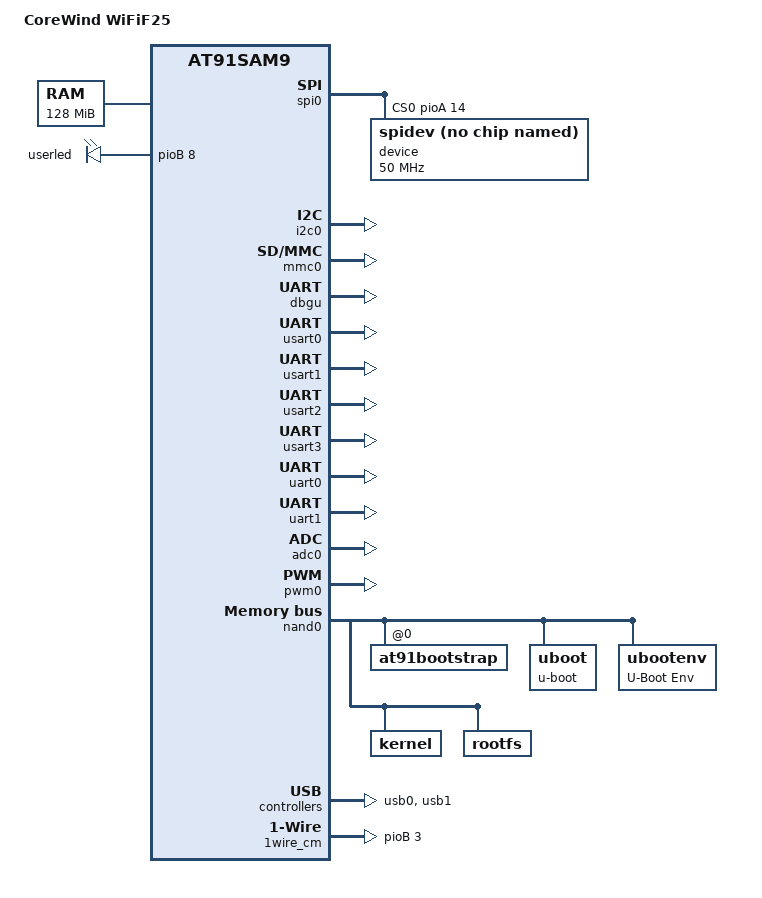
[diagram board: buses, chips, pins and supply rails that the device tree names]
/*
 at91-wifig25.dts - Device Tree file for CoreWind/ArmDevs WiFiG25
 Modified/Created by madox@madox.net
 
 Copyright (C) 2012 Atmel,
               2012 Nicolas Ferre <nicolas.ferre@atmel.com>

 at91-wifig25.dts
 |-at91sam9g25.dtsi
   |-at91sam9x5_usart3.dtsi
   |-at91sam9x5_macb0.dtsi
   |-at91sam9x5.dtsi
   |-skeleton.dtsi
 
Licensed under GPLv2 or later.
*/
/dts-v1/;
#include "at91sam9g25.dtsi"

/ {
	model = "CoreWind WiFiF25";
	compatible = "atmel,at91sam9g25ek", "atmel,at91sam9x5ek", "atmel,at91sam9x5", "atmel,at91sam9";

	aliases {
		serial0 = &dbgu;
		serial1 = &usart0;
		serial2 = &usart1;
		serial3 = &usart2;
		serial4 = &usart3;
		serial5 = &uart0;
		serial6 = &uart1;
	};
	
	chosen {
		bootargs = "mem=128M console=ttyS0,115200 rw rootfstype=ubifs ubi.mtd=7 root=ubi0:rootfs";
	};

	memory {
		/* 128 MB, change this for 256 MB revision */
		reg = <0x20000000 0x8000000>;
	};

	clocks {
		#address-cells = <1>;
		#size-cells = <1>;
		ranges;

		main_clock: clock@0 {
			compatible = "atmel,osc", "fixed-clock";
			clock-frequency = <12000000>;
		};
	};

	ahb {
		apb {
			pinctrl@fffff400 {
				1wire_cm {
					pinctrl_1wire_cm: 1wire_cm-0 {
						atmel,pins = <AT91_PIOB 3 AT91_PERIPH_GPIO AT91_PINCTRL_MULTI_DRIVE>;
					};
				};

				dbgu {
					pinctrl_dbgu: dbgu-0 {
						atmel,pins =
							<AT91_PIOA 9 AT91_PERIPH_A AT91_PINCTRL_NONE	/* PA9 periph A */
							 AT91_PIOA 10 AT91_PERIPH_A AT91_PINCTRL_PULL_UP>;	/* PA10 periph A with pullup */
					};
				};
				
				nand {
					pinctrl_nand_rdy_enable: nand_rdy_enable-0 {
						atmel,pins =
							<AT91_PIOD 5 AT91_PERIPH_GPIO AT91_PINCTRL_PULL_UP	
							 AT91_PIOD 4 AT91_PERIPH_GPIO AT91_PINCTRL_PULL_UP>;
					};

					pinctrl_nand_oe_we_ale_cle: nand_oe_we_ale_cle-0 {
						atmel,pins =
							<AT91_PIOD 0 AT91_PERIPH_A AT91_PINCTRL_PULL_UP
							 AT91_PIOD 1 AT91_PERIPH_A AT91_PINCTRL_PULL_UP
							 AT91_PIOD 2 AT91_PERIPH_A AT91_PINCTRL_PULL_UP
							 AT91_PIOD 3 AT91_PERIPH_A AT91_PINCTRL_PULL_UP>;
					};

					pinctrl_nand_bus_on_d16_8bit: nand_bus_on_d16_8bit-0 {
						atmel,pins =
							<AT91_PIOD 6  AT91_PERIPH_A AT91_PINCTRL_PULL_UP
							 AT91_PIOD 7  AT91_PERIPH_A AT91_PINCTRL_PULL_UP
							 AT91_PIOD 8  AT91_PERIPH_A AT91_PINCTRL_PULL_UP
							 AT91_PIOD 9  AT91_PERIPH_A AT91_PINCTRL_PULL_UP
							 AT91_PIOD 10 AT91_PERIPH_A AT91_PINCTRL_PULL_UP	
							 AT91_PIOD 11 AT91_PERIPH_A AT91_PINCTRL_PULL_UP	
							 AT91_PIOD 12 AT91_PERIPH_A AT91_PINCTRL_PULL_UP	
							 AT91_PIOD 13 AT91_PERIPH_A AT91_PINCTRL_PULL_UP>;
					};
				};
				
				/* Refer SAM9G25 Datasheet 38.5.1 */
				pwm0 {
					pinctrl_pwm0: pwm0-0 {
						atmel,pins =
							<AT91_PIOC 18 AT91_PERIPH_C AT91_PINCTRL_NONE
							 AT91_PIOC 19 AT91_PERIPH_C AT91_PINCTRL_NONE
							 AT91_PIOC 20 AT91_PERIPH_C AT91_PINCTRL_NONE
							 AT91_PIOC 21 AT91_PERIPH_C AT91_PINCTRL_NONE>;
					};
				};
			};

			spi0: spi@f0000000 {
				status = "okay";
				cs-gpios = <&pioA 14 0>, <0>, <0>, <0>;
				device@0 {
					compatible = "spidev";
					spi-max-frequency = <50000000>;
					reg = <0>;
				};
			};

			i2c0: i2c@f8010000 {
				status = "okay";
			};

			watchdog@fffffe40 {
				status = "okay";
			};
			
			mmc0: mmc@f0008000 {
				pinctrl-0 = <
					&pinctrl_mmc0_slot0_clk_cmd_dat0
					&pinctrl_mmc0_slot0_dat1_3>;
				status = "okay";
				slot@0 {
					reg = <0>;
					bus-width = <4>;
					cd-gpios = <&pioB 6 0>;
				};
			};

			dbgu: serial@fffff200 {
				status = "okay";
			};

			usart0: serial@f801c000 {
				pinctrl-0 = <&pinctrl_usart0 
					&pinctrl_usart0_rts 
					&pinctrl_usart0_cts>;
				status = "okay";
			};
			
			usart1: serial@f8020000 {
				pinctrl-0 = <&pinctrl_usart1
					&pinctrl_usart1_rts 
					&pinctrl_usart1_cts>;
				status = "okay";
			};

			usart2: serial@f8024000 {
				pinctrl-0 = <&pinctrl_usart2
					&pinctrl_usart2_rts>;
				status = "okay";
			};

			usart3: serial@f8028000 {
				pinctrl-0 = <&pinctrl_usart3
					&pinctrl_usart3_rts>;
				atmel,use-dma-rx;
				dma-rx = <&dma1 0x2000020f>;
				atmel,use-dma-tx;
				dma-tx = <&dma1 0x100020e0>;
				status = "okay";
			};

			uart0: serial@f8040000 {
				status = "okay";
			};

			uart1: serial@f8044000 {
				status = "okay";
			};

			adc0: adc@f804c000 {
				status = "okay";
			};

			rtc@fffffeb0 {
				status = "okay";
			};

			pwm0: pwm@f8034000 {
				pinctrl-names = "default";
				pinctrl-0 = <&pinctrl_pwm0>;
				compatible = "atmel,at91sam9rl-pwm";
				reg = <0xf8034000 0x300>;
				#pwm-cells = <3>;
				status = "okay";
			};
		};

		nand0: nand@40000000 {
			nand-bus-width = <8>;
			nand-ecc-mode = "hw";
			atmel,has-pmecc;	/* Enable PMECC */
			atmel,pmecc-cap = <2>;
			atmel,pmecc-sector-size = <512>;
			nand-on-flash-bbt;
			pinctrl-0 = <&pinctrl_nand_rdy_enable &pinctrl_nand_oe_we_ale_cle &pinctrl_nand_bus_on_d16_8bit>;
			status = "okay";

			at91bootstrap@0 {
				label = "at91bootstrap";
				reg = <0x0 0x40000>;
			};

			uboot@40000 {
				label = "u-boot";
				reg = <0x40000 0x80000>;
			};

			ubootenv@c0000 {
				label = "U-Boot Env";
				reg = <0xc0000 0x140000>;
			};

			kernel@200000 {
				label = "kernel";
				reg = <0x200000 0x600000>;
			};

			rootfs@800000 {
				label = "rootfs";
				reg = <0x800000 0x1f800000>;
			};
		};
		
		usb0: ohci@00600000 {
			status = "okay";
			num-ports = <3>;
		};

		usb1: ehci@00700000 {
			status = "okay";
		};
	};

	leds {
		compatible = "gpio-leds";
		userled {
			label = "userled";
			gpios = <&pioB 8 GPIO_ACTIVE_HIGH>; /* PB8 */
			linux,default-trigger = "heartbeat";
		};
	};
	
	1wire_cm {
		compatible = "w1-gpio";
		gpios = <&pioB 3 GPIO_ACTIVE_LOW>;
		linux,open-drain;
		pinctrl-names = "default";
		pinctrl-0 = <&pinctrl_1wire_cm>;
		status = "okay";
	};

	pwmtcb  {
		compatible = "atmel,tcb-pwm";
		#pwm-cells = <3>;
		tc-block = <1>;
		pinctrl-names = "default";
		pinctrl-0 = <&pinctrl_tcb1_tioa0
			&pinctrl_tcb1_tiob0>;
		status = "okay";
	};
};
